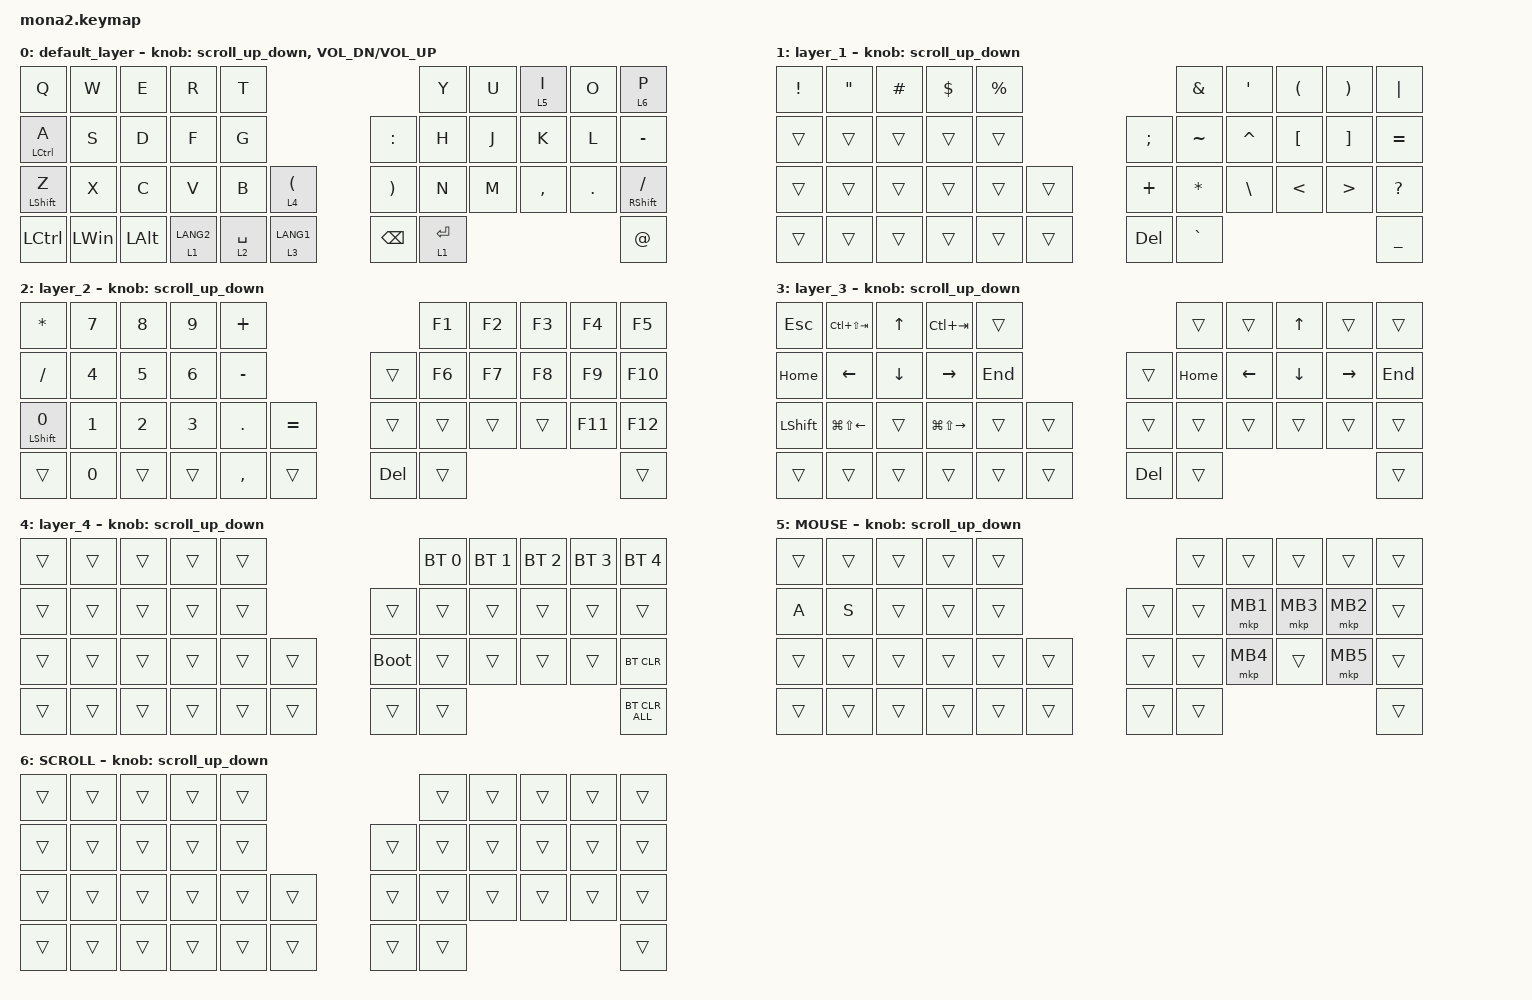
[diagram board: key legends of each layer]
#include <input/processors.dtsi>
#include <dt-bindings/zmk/input_transform.h>
#include <zephyr/dt-bindings/input/input-event-codes.h>
#include <behaviors.dtsi>
#include <dt-bindings/zmk/bt.h>
#include <dt-bindings/zmk/keys.h>
#include <dt-bindings/zmk/pointing.h>

#define ZMK_POINTING_DEFAULT_SCRL_VAL 100
#define MOUSE 5
#define SCROLL 6

&mt {
    flavor = "balanced";
    quick-tap-ms = <0>;
};

&lt {
    quick-tap-ms = <300>;
    flavor = "balanced";
};

/ {
    combos {
        compatible = "zmk,combos";

        layer4_ESC {
            bindings = <&lt 4 ESC>;
            key-positions = <39 38>;
        };

        tab {
            bindings = <&kp TAB>;
            key-positions = <11 12>;
        };
    };

    macros {
        to_layer_0: to_layer_0 {
            compatible = "zmk,behavior-macro-one-param";
            #binding-cells = <1>;
            bindings = <&to 0 &macro_param_1to1 &kp MACRO_PLACEHOLDER>;
            label = "TO_LAYER_0";
        };
    };

    behaviors {
        lt_to_layer_0: lt_to_layer_0 {
            compatible = "zmk,behavior-hold-tap";
            label = "LAYER_TAP_TO_0";
            bindings = <&mo>, <&to_layer_0>;

            #binding-cells = <2>;
            tapping-term-ms = <200>;
        };

        scroll_up_down: mouse_wheel_up_down {
            compatible = "zmk,behavior-sensor-rotate";
            #sensor-binding-cells = <0>;
            bindings = <&msc SCRL_DOWN>, <&msc SCRL_UP>;

            tap-ms = <20>;
        };

        scroll_right_left: mouse_wheel_right_left {
            compatible = "zmk,behavior-sensor-rotate";
            #sensor-binding-cells = <0>;
            bindings = <&msc SCRL_LEFT>, <&msc SCRL_RIGHT>;

            tap-ms = <20>;
        };
    };

    keymap {
        compatible = "zmk,keymap";

        default_layer {
            bindings = <
&kp Q             &kp W         &kp E         &kp R        &kp T                                                         &kp Y        &kp U  &lt 5 I    &kp O    &lt 6 P
&mt LCTRL A       &kp S         &kp D         &kp F        &kp G                                  &kp COLON              &kp H        &kp J  &kp K      &kp L    &kp MINUS
&mt LEFT_SHIFT Z  &kp X         &kp C         &kp V        &kp B        &lt 4 LEFT_PARENTHESIS    &kp RIGHT_PARENTHESIS  &kp N        &kp M  &kp COMMA  &kp DOT  &mt RIGHT_SHIFT SLASH
&kp LCTRL         &kp LEFT_WIN  &kp LEFT_ALT  &lt 1 LANG2  &lt 2 SPACE  &lt 3 LANG1               &kp BACKSPACE          &lt 1 ENTER                             &kp AT_SIGN
            >;

            sensor-bindings =
                <&scroll_up_down>,
                <&inc_dec_kp C_VOL_DN C_VOL_UP>;
        };

        layer_1 {
            bindings = <
&kp EXCL  &kp DOUBLE_QUOTES  &kp HASH  &kp DOLLAR  &kp PERCENT                           &kp AMPERSAND  &kp SINGLE_QUOTE  &kp LEFT_PARENTHESIS  &kp RIGHT_PARENTHESIS  &kp PIPE
&trans    &trans             &trans    &trans      &trans                 &kp SEMICOLON  &kp TILDE      &kp CARET         &kp LEFT_BRACKET      &kp RIGHT_BRACKET      &kp EQUAL
&trans    &trans             &trans    &trans      &trans       &trans    &kp PLUS       &kp ASTERISK   &kp BACKSLASH     &kp LESS_THAN         &kp GREATER_THAN       &kp QUESTION
&trans    &trans             &trans    &trans      &trans       &trans    &kp DELETE     &kp GRAVE                                                                     &kp UNDERSCORE
            >;

            sensor-bindings = <&scroll_up_down>;
        };

        layer_2 {
            bindings = <
&kp ASTERISK             &kp NUMBER_7  &kp NUMBER_8  &kp NUMBER_9  &kp PLUS                             &kp F1  &kp F2  &kp F3  &kp F4   &kp F5
&kp SLASH                &kp NUMBER_4  &kp NUMBER_5  &kp NUMBER_6  &kp MINUS                &trans      &kp F6  &kp F7  &kp F8  &kp F9   &kp F10
&mt LEFT_SHIFT NUMBER_0  &kp NUMBER_1  &kp NUMBER_2  &kp NUMBER_3  &kp PERIOD  &kp EQUAL    &trans      &trans  &trans  &trans  &kp F11  &kp F12
&trans                   &kp NUMBER_0  &trans        &trans        &kp COMMA   &trans       &kp DELETE  &trans                           &trans
            >;

            sensor-bindings = <&scroll_up_down>;
        };

        layer_3 {
            bindings = <
&kp ESCAPE      &kp LC(LS(TAB))         &kp UP_ARROW    &kp LC(TAB)              &trans                         &trans    &trans          &kp UP_ARROW    &trans           &trans
&kp HOME        &kp LEFT_ARROW          &kp DOWN_ARROW  &kp RIGHT_ARROW          &kp END            &trans      &kp HOME  &kp LEFT_ARROW  &kp DOWN_ARROW  &kp RIGHT_ARROW  &kp END
&kp LEFT_SHIFT  &kp LG(LS(LEFT_ARROW))  &trans          &kp LG(LS(RIGHT_ARROW))  &trans   &trans    &trans      &trans    &trans          &trans          &trans           &trans
&trans          &trans                  &trans          &trans                   &trans   &trans    &kp DELETE  &trans                                                     &trans
            >;

            sensor-bindings = <&scroll_up_down>;
        };

        layer_4 {
            bindings = <
&trans  &trans  &trans  &trans  &trans                         &bt BT_SEL 0  &bt BT_SEL 1  &bt BT_SEL 2  &bt BT_SEL 3  &bt BT_SEL 4
&trans  &trans  &trans  &trans  &trans            &trans       &trans        &trans        &trans        &trans        &trans
&trans  &trans  &trans  &trans  &trans  &trans    &bootloader  &trans        &trans        &trans        &trans        &bt BT_CLR
&trans  &trans  &trans  &trans  &trans  &trans    &trans       &trans                                                  &bt BT_CLR_ALL
            >;

            sensor-bindings = <&scroll_up_down>;
        };

        MOUSE {
            bindings = <
&trans  &trans  &trans  &trans  &trans                    &trans  &trans    &trans    &trans    &trans
&kp A   &kp S   &trans  &trans  &trans            &trans  &trans  &mkp MB1  &mkp MB3  &mkp MB2  &trans
&trans  &trans  &trans  &trans  &trans  &trans    &trans  &trans  &mkp MB4  &trans    &mkp MB5  &trans
&trans  &trans  &trans  &trans  &trans  &trans    &trans  &trans                                &trans
            >;

            sensor-bindings = <&scroll_up_down>;
        };

        SCROLL {
            bindings = <
&trans  &trans  &trans  &trans  &trans                    &trans  &trans  &trans  &trans  &trans
&trans  &trans  &trans  &trans  &trans            &trans  &trans  &trans  &trans  &trans  &trans
&trans  &trans  &trans  &trans  &trans  &trans    &trans  &trans  &trans  &trans  &trans  &trans
&trans  &trans  &trans  &trans  &trans  &trans    &trans  &trans                          &trans
            >;

            sensor-bindings = <&scroll_up_down>;
        };
    };
};
